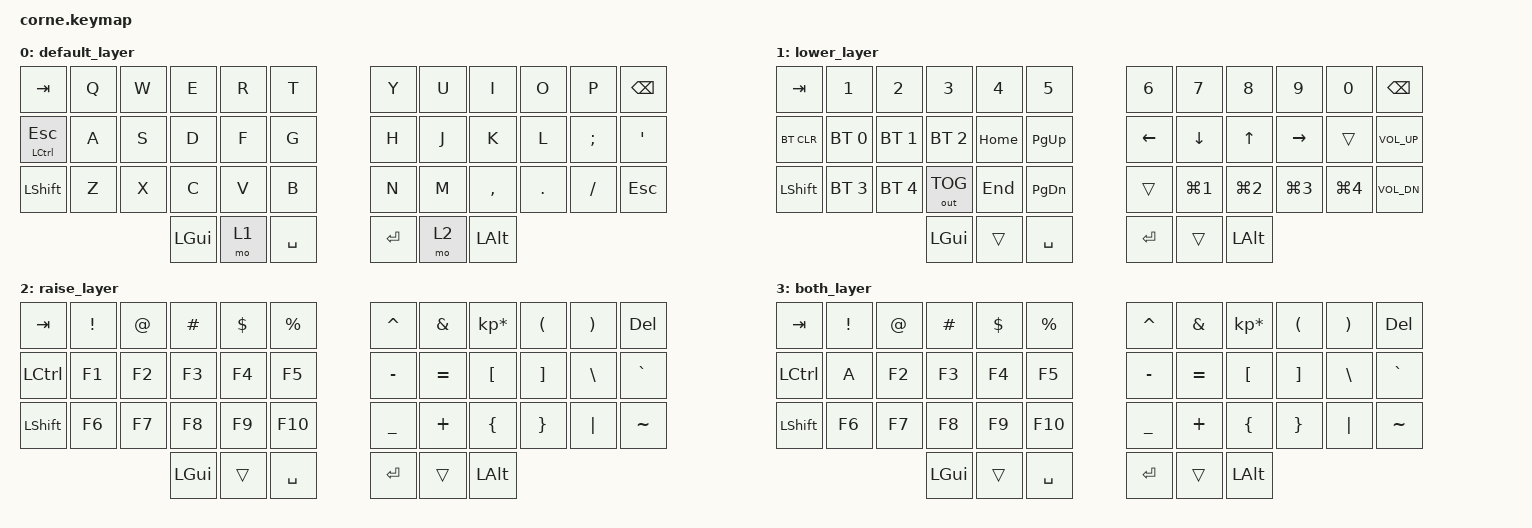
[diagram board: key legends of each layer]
/*
 * Copyright (c) 2020 The ZMK Contributors
 *
 * SPDX-License-Identifier: MIT
 */

#include <behaviors.dtsi>
#include <dt-bindings/zmk/keys.h>
#include <dt-bindings/zmk/bt.h>
#include <dt-bindings/zmk/outputs.h>

/ {
    conditional_layers {
        compatible = "zmk,conditional-layers";
        tri_layer {
            if-layers = <1 2>;
            then-layer = <3>;
        };
    };
};

/ {
    keymap {
        compatible = "zmk,keymap";

        default_layer {
            // -------------------------------------------------------------------------------------------
            // |  TAB |  Q  |  W  |  E  |  R  |  T  |               |  Y  |  U  |  I  |  O  |  P  | BKSP |
            // | CTRL |  A  |  S  |  D  |  F  |  G  |               |  H  |  J  |  K  |  L  |  ;  |  '   |
            // | SHFT |  Z  |  X  |  C  |  V  |  B  |               |  N  |  M  |  ,  |  .  |  /  | ESC  |
            //                          | GUI | LWR | SPC |   | ENT | RSE | ALT |

            bindings = <
      &kp TAB  &kp Q  &kp W     &kp E  &kp R      &kp T      &kp Y  &kp U      &kp I    &kp O     &kp P  &kp BSPC
&mt LCTRL ESC  &kp A  &kp S     &kp D  &kp F      &kp G      &kp H  &kp J      &kp K    &kp L  &kp SEMI   &kp SQT
    &kp LSHFT  &kp Z  &kp X     &kp C  &kp V      &kp B      &kp N  &kp M  &kp COMMA  &kp DOT  &kp FSLH   &kp ESC
                             &kp LGUI  &mo 1  &kp SPACE    &kp RET  &mo 2   &kp LALT
            >;
        };

        lower_layer {
            // -------------------------------------------------------------------------------------------
            // |  TAB |  1  |  2  |  3  |  4  |  5  |               |  6  |  7   |  8   |  9   |  0   | BKSP |
            // | BTCLR| BT1 | BT2 | BT3 | HME | PUP |               | LFT | DWN  |  UP  | RGT  |      | VOLU |
            // | SHFT | BT4 | BT5 | OUT | END | PDN |               |     | GUI1 | GUI2 | GUI3 | GUI4 | VOLD |
            //                          | GUI |     | SPC |   | ENT |     | ALT  |

            bindings = <
   &kp TAB        &kp N1        &kp N2        &kp N3    &kp N4     &kp N5      &kp N6            &kp N7            &kp N8            &kp N9            &kp N0  &kp BSPC
&bt BT_CLR  &bt BT_SEL 0  &bt BT_SEL 1  &bt BT_SEL 2  &kp HOME  &kp PG_UP    &kp LEFT          &kp DOWN            &kp UP         &kp RIGHT            &trans  &kp C_VOL_UP
 &kp LSHFT  &bt BT_SEL 3  &bt BT_SEL 4  &out OUT_TOG   &kp END  &kp PG_DN      &trans  &kp LG(NUMBER_1)  &kp LG(NUMBER_2)  &kp LG(NUMBER_3)  &kp LG(NUMBER_4)  &kp C_VOL_DN
                                            &kp LGUI    &trans  &kp SPACE     &kp RET            &trans          &kp LALT
            >;
        };

        raise_layer {
            // ------------------------------------------------------------------------------------------
            // |  TAB |  !  |  @  |  #  |  $  |  %  |               |  ^  |  &  |  *  |  (  |  )  | DEL |
            // | CTRL | F1  | F2  | F3  | F4  | F5  |               |  -  |  =  |  [  |  ]  |  \  |  `  |
            // | SHFT | F6  | F7  | F8  | F9  | F10 |               |  _  |  +  |  {  |  }  | "|" |  ~  |
            //                          | GUI |     | SPC |   | ENT |     | ALT |

            bindings = <
  &kp TAB  &kp EXCL  &kp AT  &kp HASH  &kp DLLR  &kp PRCNT    &kp CARET   &kp AMPS  &kp KP_MULTIPLY  &kp LPAR  &kp RPAR    &kp DEL
&kp LCTRL    &kp F1  &kp F2    &kp F3    &kp F4     &kp F5    &kp MINUS  &kp EQUAL         &kp LBKT  &kp RBKT  &kp BSLH  &kp GRAVE
&kp LSHFT    &kp F6  &kp F7    &kp F8    &kp F9    &kp F10    &kp UNDER   &kp PLUS         &kp LBRC  &kp RBRC  &kp PIPE  &kp TILDE
                             &kp LGUI    &trans  &kp SPACE      &kp RET     &trans         &kp LALT
            >;
        };

        both_layer {
            // ------------------------------------------------------------------------------------------
            // |  TAB |  !  |  @  |  #  |  $  |  %  |               |  ^  |  &  |  *  |  (  |  )  | DEL |
            // | CTRL | A   | F2  | F3  | F4  | F5  |               |  -  |  =  |  [  |  ]  |  \  |  `  |
            // | SHFT | F6  | F7  | F8  | F9  | F10 |               |  _  |  +  |  {  |  }  | "|" |  ~  |
            //                          | GUI |     | SPC |   | ENT |     | ALT |

            bindings = <
  &kp TAB  &kp EXCL  &kp AT  &kp HASH  &kp DLLR  &kp PRCNT    &kp CARET   &kp AMPS  &kp KP_MULTIPLY  &kp LPAR  &kp RPAR    &kp DEL
&kp LCTRL    &kp A   &kp F2    &kp F3    &kp F4     &kp F5    &kp MINUS  &kp EQUAL         &kp LBKT  &kp RBKT  &kp BSLH  &kp GRAVE
&kp LSHFT    &kp F6  &kp F7    &kp F8    &kp F9    &kp F10    &kp UNDER   &kp PLUS         &kp LBRC  &kp RBRC  &kp PIPE  &kp TILDE
                             &kp LGUI    &trans  &kp SPACE      &kp RET     &trans         &kp LALT
            >;
        };
    };
};
